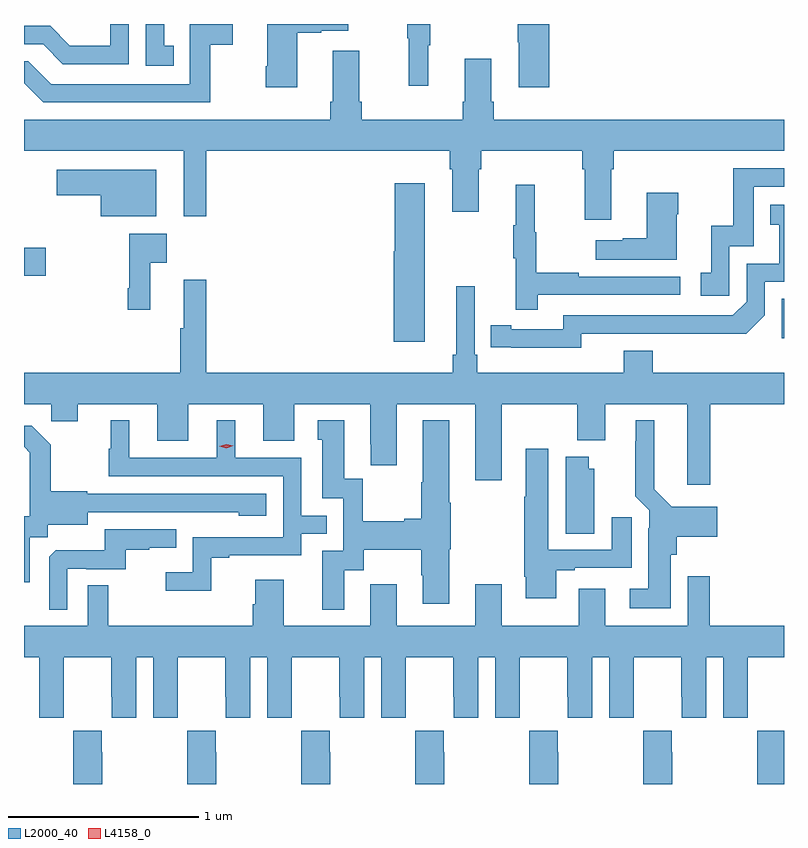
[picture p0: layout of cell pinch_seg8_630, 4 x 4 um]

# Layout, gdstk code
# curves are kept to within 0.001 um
import gdstk
lib = gdstk.Library(unit=1e-6, precision=1e-09)
def R(c, l, rs):  # rectangles x0, y0, x1, y1
    for r in rs: c.add(gdstk.rectangle(r[:2], r[2:], *l))
def P(c, l, *ps):  # polygons
    for p in ps: c.add(gdstk.Polygon(p, *l))
L2000_40 = (2000, 40)
L4158_0 = (4158, 0)

pinch_seg8_630 = lib.new_cell('pinch_seg8_630')
R(pinch_seg8_630, L2000_40, [(320.346,1108.854,320.357,1109.061), (316.357,1109.183,316.471,1109.33)])
P(pinch_seg8_630, L2000_40, [(317.338,1110.399),(317.456,1110.399),(317.456,1110.508),(317.229,1110.507),(317.229,1110.192),(316.5,1110.192),(316.38,1110.312),(316.357,1110.312),(316.357,1110.197),(316.458,1110.096),(317.338,1110.096)],
  [(316.908,1110.508),(316.812,1110.508),(316.812,1110.394),(316.598,1110.394),(316.494,1110.498),(316.357,1110.498),(316.357,1110.402),(316.457,1110.402),(316.562,1110.297),(316.908,1110.297)],
  [(317.144,1110.393),(317.095,1110.393),(317.095,1110.508),(316.998,1110.508),(316.998,1110.288),(317.144,1110.288)],
  [(319.121,1110.508),(318.955,1110.508),(318.955,1110.412),(318.962,1110.412),(318.962,1110.174),(319.121,1110.174)],
  [(317.794,1110.463),(317.921,1110.463),(317.921,1110.473),(318.064,1110.473),(318.064,1110.508),(317.636,1110.508),(317.636,1110.286),(317.629,1110.286),(317.629,1110.174),(317.794,1110.174)],
  [(318.485,1110.395),(318.496,1110.395),(318.496,1110.508),(318.375,1110.508),(318.375,1110.432),(318.382,1110.432),(318.382,1110.183),(318.485,1110.183)],
  [(319.447,1109.744),(319.46,1109.744),(319.46,1109.84),(320.357,1109.84),(320.357,1110.004),(318.83,1110.004),(318.83,1110.1),(318.817,1110.1),(318.817,1110.325),(318.677,1110.325),(318.677,1110.1),(318.665,1110.1),(318.665,1110.004),(318.134,1110.004),(318.134,1110.1),(318.121,1110.1),(318.121,1110.367),(317.981,1110.367),(317.981,1110.1),(317.969,1110.1),(317.969,1110.004),(316.357,1110.004),(316.357,1109.84),(317.198,1109.84),(317.198,1109.496),(317.315,1109.496),(317.315,1109.84),(318.599,1109.84),(318.599,1109.744),(318.611,1109.744),(318.611,1109.52),(318.751,1109.52),(318.751,1109.744),(318.764,1109.744),(318.764,1109.84),(319.295,1109.84),(319.295,1109.744),(319.307,1109.744),(319.307,1109.478),(319.447,1109.478)],
  [(320.07,1109.337),(320.199,1109.337),(320.199,1109.652),(320.357,1109.652),(320.357,1109.748),(320.091,1109.748),(320.091,1109.446),(319.973,1109.446),(319.973,1109.199),(319.92,1109.199),(319.92,1109.079),(320.07,1109.079)],
  [(317.053,1109.74),(316.53,1109.74),(316.53,1109.606),(316.76,1109.606),(316.76,1109.495),(317.053,1109.495)],
  [(318.466,1109.671),(318.308,1109.671),(318.308,1109.313),(318.302,1109.313),(318.302,1108.836),(318.466,1108.836)],
  [(319.061,1109.082),(319.81,1109.082),(319.81,1109.178),(319.277,1109.178),(319.277,1109.198),(319.054,1109.198),(319.054,1109.412),(319.046,1109.412),(319.046,1109.662),(318.944,1109.662),(318.944,1109.449),(318.933,1109.449),(318.933,1109.275),(318.944,1109.275),(318.944,1109.004),(319.061,1109.004)],
  [(319.792,1109.507),(319.8,1109.507),(319.8,1109.62),(319.634,1109.62),(319.634,1109.381),(319.508,1109.381),(319.508,1109.371),(319.365,1109.371),(319.365,1109.267),(319.792,1109.267)],
  [(319.29,1108.878),(320.158,1108.877),(320.256,1108.974),(320.256,1109.151),(320.357,1109.151),(320.357,1109.557),(320.284,1109.557),(320.284,1109.451),(320.333,1109.451),(320.333,1109.247),(320.16,1109.247),(320.16,1109.046),(320.088,1108.974),(319.194,1108.974),(319.194,1108.902),(318.922,1108.902),(318.922,1108.922),(318.814,1108.922),(318.814,1108.806),(319.29,1108.805)],
  [(317.021,1109.252),(317.107,1109.252),(317.107,1109.404),(316.911,1109.404),(316.911,1109.116),(316.903,1109.116),(316.903,1109.004),(317.021,1109.004)],
  [(317.315,1109.161),(317.198,1109.161),(317.198,1108.908),(317.179,1108.908),(317.179,1108.672),(316.357,1108.672),(316.357,1108.508),(316.501,1108.508),(316.501,1108.418),(316.639,1108.418),(316.639,1108.508),(317.057,1108.508),(317.057,1108.314),(317.221,1108.314),(317.221,1108.508),(317.615,1108.508),(317.615,1108.314),(317.779,1108.314),(317.779,1108.508),(318.179,1108.508),(318.179,1108.297),(318.182,1108.297),(318.182,1108.185),(318.319,1108.185),(318.319,1108.508),(318.731,1108.508),(318.731,1108.107),(318.871,1108.107),(318.871,1108.508),(319.27,1108.508),(319.27,1108.316),(319.417,1108.316),(319.417,1108.508),(319.847,1108.508),(319.847,1108.083),(319.97,1108.083),(319.97,1108.508),(320.357,1108.508),(320.357,1108.672),(319.667,1108.672),(319.667,1108.789),(319.514,1108.789),(319.514,1108.672),(318.743,1108.672),(318.743,1108.768),(318.729,1108.768),(318.729,1109.128),(318.632,1109.128),(318.632,1108.768),(318.613,1108.768),(318.613,1108.672),(317.315,1108.672)],
  [(318.043,1107.634),(318.145,1107.634),(318.145,1107.74),(318.448,1107.74),(318.448,1107.606),(318.455,1107.606),(318.455,1107.456),(318.595,1107.456),(318.595,1107.744),(318.603,1107.744),(318.603,1107.988),(318.595,1107.988),(318.595,1108.423),(318.455,1108.423),(318.455,1108.097),(318.448,1108.097),(318.448,1107.905),(318.359,1107.905),(318.359,1107.892),(318.141,1107.892),(318.141,1108.115),(318.043,1108.115),(318.043,1108.423),(317.903,1108.423),(317.903,1108.32),(317.927,1108.32),(317.927,1108.011),(318.036,1108.011),(318.036,1107.735),(317.927,1107.735),(317.927,1107.426),(318.043,1107.426)],
  [(317.343,1107.699),(317.437,1107.699),(317.437,1107.711),(317.817,1107.711),(317.817,1107.825),(317.951,1107.825),(317.951,1107.921),(317.817,1107.921),(317.817,1108.224),(317.47,1108.224),(317.47,1108.423),(317.372,1108.423),(317.372,1108.224),(316.912,1108.224),(316.912,1108.423),(316.814,1108.423),(316.814,1108.272),(316.803,1108.272),(316.803,1108.128),(317.721,1108.128),(317.721,1107.807),(317.244,1107.807),(317.244,1107.622),(317.103,1107.622),(317.103,1107.524),(317.343,1107.524)],
  [(319.762,1107.714),(319.793,1107.714),(319.793,1107.809),(320.005,1107.809),(320.005,1107.967),(319.767,1107.967),(319.675,1108.06),(319.675,1108.423),(319.577,1108.423),(319.577,1108.313),(319.573,1108.313),(319.573,1108.022),(319.647,1107.948),(319.647,1107.854),(319.643,1107.854),(319.643,1107.535),(319.545,1107.535),(319.545,1107.434),(319.762,1107.434)],
  [(316.387,1107.808),(316.482,1107.808),(316.482,1107.872),(316.693,1107.872),(316.693,1107.939),(317.487,1107.938),(317.487,1107.92),(317.632,1107.92),(317.632,1108.035),(316.689,1108.035),(316.689,1108.048),(316.497,1108.048),(316.497,1108.293),(316.397,1108.393),(316.357,1108.393),(316.357,1108.283),(316.388,1108.252),(316.388,1108.157),(316.386,1108.157),(316.386,1107.916),(316.357,1107.916),(316.357,1107.57),(316.387,1107.57)],
  [(319.159,1107.633),(319.255,1107.633),(319.255,1107.645),(319.555,1107.645),(319.555,1107.913),(319.451,1107.913),(319.451,1107.741),(319.117,1107.741),(319.117,1108.273),(318.998,1108.273),(318.998,1108.019),(318.991,1108.019),(318.991,1107.598),(318.998,1107.598),(318.998,1107.486),(319.159,1107.486)],
  [(319.357,1108.167),(319.33,1108.167),(319.33,1108.231),(319.208,1108.231),(319.208,1107.826),(319.357,1107.826)],
  [(316.584,1107.642),(316.684,1107.642),(316.684,1107.639),(316.892,1107.639),(316.892,1107.741),(317.015,1107.741),(317.015,1107.752),(317.159,1107.752),(317.159,1107.849),(316.782,1107.849),(316.782,1107.737),(316.523,1107.737),(316.491,1107.705),(316.491,1107.425),(316.584,1107.425)],
  [(318.731,1107.34),(318.319,1107.34),(318.319,1107.559),(318.179,1107.559),(318.179,1107.34),(317.725,1107.34),(317.725,1107.583),(317.573,1107.583),(317.573,1107.453),(317.561,1107.453),(317.561,1107.34),(316.801,1107.34),(316.801,1107.554),(316.692,1107.554),(316.692,1107.34),(316.357,1107.34),(316.357,1107.176),(316.436,1107.176),(316.436,1106.856),(316.566,1106.856),(316.566,1106.968),(316.567,1106.968),(316.567,1107.176),(316.817,1107.176),(316.817,1106.968),(316.818,1106.968),(316.818,1106.856),(316.948,1106.856),(316.948,1107.176),(317.036,1107.176),(317.036,1106.856),(317.166,1106.856),(317.166,1106.968),(317.167,1106.968),(317.167,1107.176),(317.417,1107.176),(317.417,1106.968),(317.418,1106.968),(317.418,1106.856),(317.548,1106.856),(317.548,1107.176),(317.636,1107.176),(317.636,1106.856),(317.766,1106.856),(317.766,1106.968),(317.767,1106.968),(317.767,1107.176),(318.017,1107.176),(318.017,1106.968),(318.018,1106.968),(318.018,1106.856),(318.148,1106.856),(318.148,1107.176),(318.236,1107.176),(318.236,1106.856),(318.366,1106.856),(318.366,1106.968),(318.367,1106.968),(318.367,1107.176),(318.617,1107.176),(318.617,1106.968),(318.618,1106.968),(318.618,1106.856),(318.748,1106.856),(318.748,1107.176),(318.836,1107.176),(318.836,1106.856),(318.966,1106.856),(318.966,1106.968),(318.967,1106.968),(318.967,1107.176),(319.217,1107.176),(319.217,1106.968),(319.218,1106.968),(319.218,1106.856),(319.348,1106.856),(319.348,1107.176),(319.436,1107.176),(319.436,1106.856),(319.566,1106.856),(319.566,1106.968),(319.567,1106.968),(319.567,1107.176),(319.817,1107.176),(319.817,1106.968),(319.818,1106.968),(319.818,1106.856),(319.948,1106.856),(319.948,1107.176),(320.036,1107.176),(320.036,1106.856),(320.166,1106.856),(320.166,1106.968),(320.167,1106.968),(320.167,1107.176),(320.357,1107.176),(320.357,1107.34),(319.967,1107.34),(319.967,1107.601),(319.851,1107.601),(319.851,1107.34),(319.417,1107.34),(319.417,1107.535),(319.277,1107.535),(319.277,1107.34),(318.871,1107.34),(318.871,1107.559),(318.731,1107.559)],
  [(316.77,1106.675),(316.767,1106.675),(316.767,1106.788),(316.617,1106.788),(316.617,1106.675),(316.615,1106.675),(316.615,1106.508),(316.77,1106.508)],
  [(317.37,1106.675),(317.367,1106.675),(317.367,1106.788),(317.217,1106.788),(317.217,1106.675),(317.215,1106.675),(317.215,1106.508),(317.37,1106.508)],
  [(317.97,1106.675),(317.967,1106.675),(317.967,1106.788),(317.817,1106.788),(317.817,1106.675),(317.815,1106.675),(317.815,1106.508),(317.97,1106.508)],
  [(318.57,1106.675),(318.567,1106.675),(318.567,1106.788),(318.417,1106.788),(318.417,1106.675),(318.415,1106.675),(318.415,1106.508),(318.57,1106.508)],
  [(319.17,1106.675),(319.167,1106.675),(319.167,1106.788),(319.017,1106.788),(319.017,1106.675),(319.015,1106.675),(319.015,1106.508),(319.17,1106.508)],
  [(320.357,1106.788),(320.217,1106.788),(320.217,1106.675),(320.215,1106.675),(320.215,1106.508),(320.357,1106.508)],
  [(319.77,1106.675),(319.767,1106.675),(319.767,1106.788),(319.617,1106.788),(319.617,1106.675),(319.615,1106.675),(319.615,1106.508),(319.77,1106.508)])
P(pinch_seg8_630, L4158_0, [(317.421,1108.276),(317.385,1108.285),(317.385,1108.285),(317.385,1108.285),(317.421,1108.296),(317.457,1108.288),(317.457,1108.288),(317.457,1108.287)])

lib.write_gds('pinch_seg8_630.gds')
